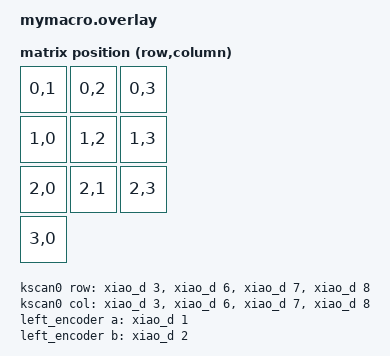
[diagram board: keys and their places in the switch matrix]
#include <dt-bindings/zmk/matrix_transform.h>

#define RC(r,c) r c

/ {
    chosen {
        zmk,kscan = &kscan0;
        zmk,matrix_transform = &default_transform;
        zephyr,display = &oled;
    };

    default_transform: keymap_transform_0 {
        compatible = "zmk,matrix-transform";
        columns = <4>;
        rows = <4>;
        map = <
            RC(0,1) RC(0,2) RC(0,3)
            RC(1,0) RC(1,2) RC(1,3)
            RC(2,0) RC(2,1) RC(2,3)
            RC(3,0)
        >;
    };

    kscan0: kscan_0 {
        compatible = "zmk,kscan-gpio-matrix";
        diode-direction = "col2row";
        row-gpios
            = <&xiao_d 3 (GPIO_ACTIVE_HIGH | GPIO_PULL_DOWN)>
            , <&xiao_d 6 (GPIO_ACTIVE_HIGH | GPIO_PULL_DOWN)>
            , <&xiao_d 7 (GPIO_ACTIVE_HIGH | GPIO_PULL_DOWN)>
            , <&xiao_d 8 (GPIO_ACTIVE_HIGH | GPIO_PULL_DOWN)>;
        col-gpios
            = <&xiao_d 3 GPIO_ACTIVE_HIGH>
            , <&xiao_d 6 GPIO_ACTIVE_HIGH>
            , <&xiao_d 7 GPIO_ACTIVE_HIGH>
            , <&xiao_d 8 GPIO_ACTIVE_HIGH>;
    };

    left_encoder: encoder_left {
        compatible = "alps,ec11";
        a-gpios = <&xiao_d 1 (GPIO_ACTIVE_HIGH | GPIO_PULL_UP)>;
        b-gpios = <&xiao_d 2 (GPIO_ACTIVE_HIGH | GPIO_PULL_UP)>;
        steps = <80>;
        status = "okay";
    };

    sensors: sensors {
        compatible = "zmk,keymap-sensors";
        sensors = <&left_encoder>;
        triggers-per-rotation = <20>;
    };
};

&i2c0 {
    status = "okay";
    oled: ssd1306@3c {
        compatible = "solomon,ssd1306fb";
        reg = <0x3c>;
        width = <128>;
        height = <32>;
        segment-offset = <0>;
        page-offset = <0>;
        display-offset = <0>;
        multiplex-ratio = <31>;
        segment-remap;
        com-invdir;
        com-sequential;
        prechargep = <0x22>;
    };
};
